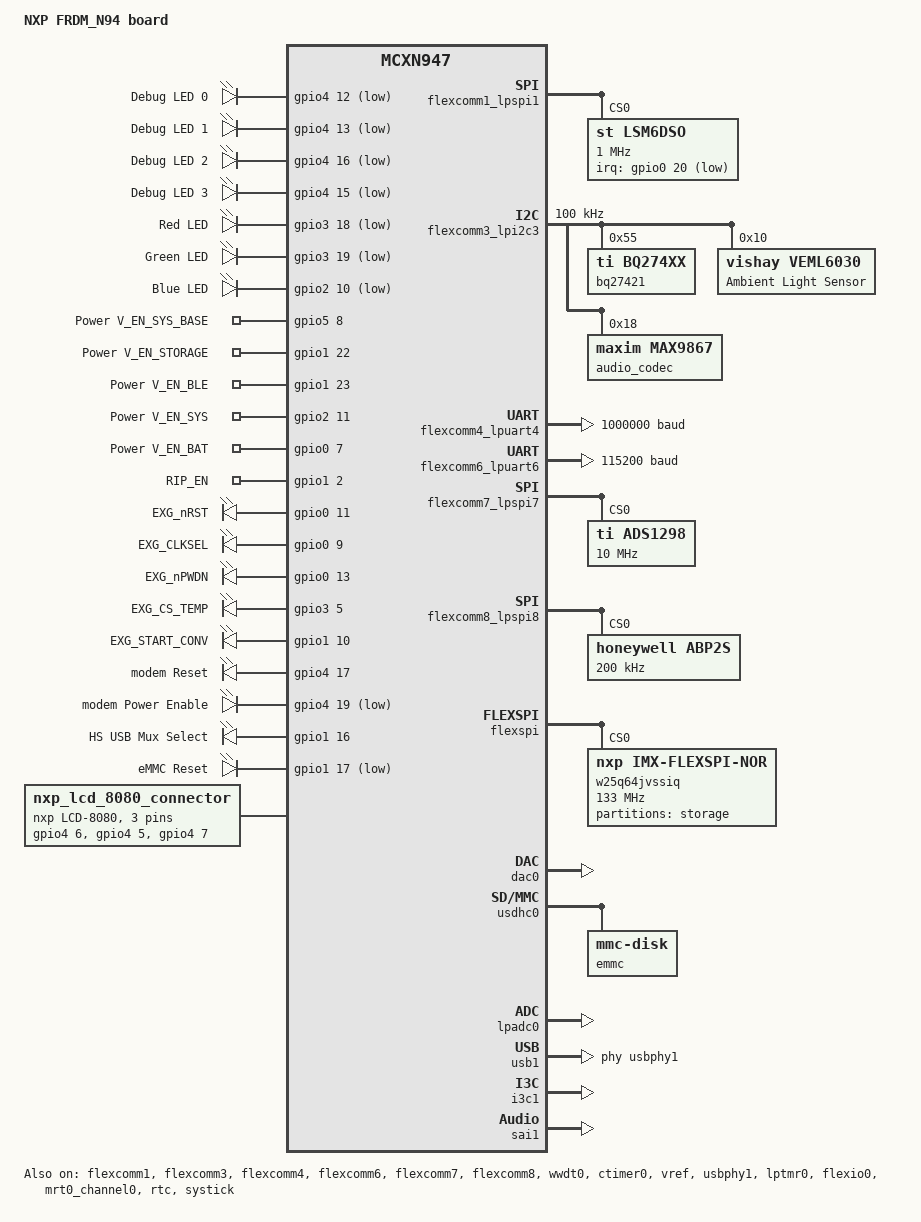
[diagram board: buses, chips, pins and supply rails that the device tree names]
/dts-v1/;

#include <nxp/nxp_mcxn94x.dtsi>
#include "db1-pinctrl.dtsi"
#include <zephyr/dt-bindings/i2c/i2c.h>
#include <zephyr/dt-bindings/input/input-event-codes.h>

/ {
	model = "NXP FRDM_N94 board";
	compatible = "nxp,mcxn947", "nxp,mcx";
	cpus {
		/delete-node/ cpu@1;
	};

	chosen {
		zephyr,sram = &sram0;
		zephyr,flash = &flash;
		zephyr,flash-controller = &fmu;
		zephyr,code-partition = &slot0_partition;
		zephyr,uart-mcumgr = &flexcomm4_lpuart4;
		zephyr,console = &flexcomm4_lpuart4;
		zephyr,shell-uart = &flexcomm4_lpuart4;
		zephyr,canbus = &flexcan0;
		zephyr,code-cpu1-partition = &slot1_partition;
	};

	aliases{
		led0 = &debug_led_0;
		led1 = &debug_led_1;
		led2 = &debug_led_2;
		led3 = &debug_led_3;

		user-red = &red_led;
		user-green = &green_led;
		user-blue = &blue_led;
		power-ven-sys-base = &power_ven_sys_base;
		power-ven-storage = &power_ven_storage;
		power-ven-ble = &power_ven_ble;
		power-ven-sys = &power_ven_sys;
		power-ven-bat = &power_ven_bat;

		rip-en = &rip_en;
		exg-nrst = &exg_nrst;
		exg-clksel = &exg_clksel;
		exg-npwdn = &exg_npwdn;
		//		exg-cs-temp = &exg_cs_temp;
		exg-cs-temp = &debug_led_3;
		exg-start-conv = &exg_start_conv;

		modem-uart = &flexcomm6_lpuart6;
		modem-reset = &modem_reset;
		modem-on = &modem_on;

		hs-usb-sel = &hs_usb_sel;
		emmc-reset = &emmc_reset;

		sw0 = &user_button_2;
		sw1 = &user_button_3;
		sdhc0 = &usdhc0;
		mcuboot-button0 = &user_button_2;

		watchdog0 = &wwdt0;
//		pwm-0 = &flexpwm1_pwm0;
//		pwm-1 = &sc_timer;
		rtc = &rtc;
	};
	leds {
		compatible = "gpio-leds";
		debug_led_0: dbg_0 {
			gpios = <&gpio4 12 GPIO_ACTIVE_LOW>;
			label = "Debug LED 0";
		};
		debug_led_1: dbg_1 {
			gpios = <&gpio4 13 GPIO_ACTIVE_LOW>;
			label = "Debug LED 1";
		};
		debug_led_2: dbg_2 {
			gpios = <&gpio4 16 GPIO_ACTIVE_LOW>;
			label = "Debug LED 2";
		};
		debug_led_3: dbg_3 {
			gpios = <&gpio4 15 GPIO_ACTIVE_LOW>;
			label = "Debug LED 3";
		};

		red_led: red {
			gpios = <&gpio3 18 GPIO_ACTIVE_LOW>;
			label = "Red LED";
		};
		green_led: green {
			gpios = <&gpio3 19 GPIO_ACTIVE_LOW>;
			label = "Green LED";
		};
		blue_led: blue {
			gpios = <&gpio2 10 GPIO_ACTIVE_LOW>;
			label = "Blue LED";
		};

		power_ven_sys_base: power_ven_sys_base {
			gpios = <&gpio5 8 GPIO_ACTIVE_HIGH>;
			label = "Power V_EN_SYS_BASE";
		};
		power_ven_storage: power_ven_storage {
			gpios = <&gpio1 22 GPIO_ACTIVE_HIGH>;
			label = "Power V_EN_STORAGE";
		};
		power_ven_ble: power_ven_ble {
			gpios = <&gpio1 23 GPIO_ACTIVE_HIGH>;
			label = "Power V_EN_BLE";
		};
		power_ven_sys: power_ven_sys {
			gpios = <&gpio2 11 GPIO_ACTIVE_HIGH>;
			label = "Power V_EN_SYS";
		};
		power_ven_bat: power_ven_bat {
			gpios = <&gpio0 7 GPIO_ACTIVE_HIGH>;
			label = "Power V_EN_BAT";
		};
		rip_en: rip_en {
			gpios = <&gpio1 2 GPIO_ACTIVE_HIGH>;
			label = "RIP_EN";
		};
		exg_nrst: exg_nrst {
			gpios = <&gpio0 11 GPIO_ACTIVE_HIGH>;
			label = "EXG_nRST";
		};
		exg_clksel: exg_clksel {
			gpios = <&gpio0 9 GPIO_ACTIVE_HIGH>;
			label = "EXG_CLKSEL";
		};
		exg_npwdn: exg_npwdn {
			gpios = <&gpio0 13 GPIO_ACTIVE_HIGH>;
			label = "EXG_nPWDN";
		};
		exg_cs_temp: exg_cs_temp { /* This shouold be passed to driver via device tree */
		gpios = <&gpio3 5 GPIO_ACTIVE_HIGH>;
			label = "EXG_CS_TEMP";
		};
		exg_start_conv: exg_start_conv {
			gpios = <&gpio1 10 GPIO_ACTIVE_HIGH>;
			label = "EXG_START_CONV";
		};
		modem_reset: modem_reset { /* Assert to reset */
		gpios = <&gpio4 17 GPIO_ACTIVE_HIGH>;
			label = "modem Reset";
		};
		modem_on: modem_on { /* Assert to power on */
		gpios = <&gpio4 19 GPIO_ACTIVE_LOW>;
			label = "modem Power Enable";
		};
		hs_usb_sel: hs_usb_sel {
			gpios = <&gpio1 16 GPIO_ACTIVE_HIGH>;
			label = "HS USB Mux Select";
		};
		emmc_reset: emmc_reset {
			gpios = <&gpio1 17 GPIO_ACTIVE_LOW>;
			label = "eMMC Reset";
		};
	};

	gpio_keys {
		compatible = "gpio-keys";
		user_button_2: button_0 {
			label = "User SW2";
			gpios = <&gpio0 23 (GPIO_ACTIVE_LOW | GPIO_PULL_UP)>;
			zephyr,code = <INPUT_KEY_0>;
			status = "disabled";
		};
		user_button_3: button_1 {
			label = "User SW3";
			gpios = <&gpio0 6 (GPIO_ACTIVE_LOW | GPIO_PULL_UP)>;
			zephyr,code = <INPUT_KEY_1>;
			status = "disabled";
		};
	};

	/*
	 * This node describes the GPIO pins of the LCD-PAR-S035 panel 8080 interface.
	 */
	nxp_lcd_8080_connector: lcd-8080-connector {
		compatible = "nxp,lcd-8080";
		#gpio-cells = <2>;
		gpio-map-mask = <0xffffffff 0xffffffc0>;
		gpio-map-pass-thru = <0 0x3f>;
		gpio-map =	<9  0 &gpio4 6 0>,	/* Pin 9, LCD touch INT */
					  <10  0 &gpio4 5 0>,	/* Pin 10, LCD backlight control */
					  <11  0 &gpio4 7 0>;	/* Pin 11, LCD and touch reset */
	};

};

/*
 * Default for this board is to allocate SRAM0-5 to cpu0 but the
 * application can have an application specific device tree to
 * allocate the SRAM0-7 differently.
 *
 * For example, SRAM0-6 could be allocated to cpu0 with only SRAM7
 * for cpu1. This would require the value of sram0 to have a DT_SIZE_K
 * of 384. You would have to make updates to cpu1 sram settings as well.
 */
&sram0 {
	compatible = "mmio-sram";
	reg = <0x20000000 DT_SIZE_K(320)>;
};

&sram {
	sramg: memory@20050000 {
		compatible = "mmio-sram";
		reg = <0x20050000 DT_SIZE_K(64)>;
	};
	sramh: memory@20060000 {
		compatible = "mmio-sram";
		reg = <0x20060000 DT_SIZE_K(32)>;
	};
};


&mbox {
	status = "okay";
};

&gpio0 {
	status = "okay";
};

&gpio1 {
	status = "okay";
};

&gpio2 {
	status = "okay";
};

&gpio3 {
	status = "okay";
};

&gpio4 {
	status = "okay";
};

&gpio5 {
	status = "okay";
};

//&green_led {
//	status = "okay";
//};
//
//&red_led {
//	status = "okay";
//};
//
&user_button_2 {
	//	status = "okay";
};

&edma0 {
	status = "okay";
};

&flexcomm1 {
	status = "okay";
};

&flexcomm1_lpspi1 {
	pinctrl-0 = <&pinmux_flexcomm1_lpspi>;
	pinctrl-names = "default";
	status = "okay";
	lsm6dso: lsm6dso@0 {
		compatible = "st,lsm6dso";
		status = "okay";
		reg = <0x0>;
		irq-gpios = <&gpio0 20 GPIO_ACTIVE_LOW>;
		spi-max-frequency = <1000000>; /* Can go higher */
		accel-pm = <0>; /* Normal mode */
		accel-range = <0>; /* 2g */
		accel-odr = <1>; /* 12.5Hz */
	};
};
&flexcomm2 {
	status = "disabled";
};

&flexcomm2_lpi2c2 {
	status = "disabled";
};

&flexcomm2_lpuart2 {
	status = "disabled";
};

&flexcomm3 {
	status = "okay";
};

&flexcomm3_lpi2c3 {
	status = "okay";
	pinctrl-0 = <&pinmux_flexcomm3_lpi2c>;
	pinctrl-names = "default";
	clock-frequency = <I2C_BITRATE_STANDARD>;

	bq27421@55 {
		compatible = "ti,bq274xx";
		reg = <0x55>;
		design-voltage = <3700>;
		design-capacity = <1800>;
		taper-current = <45>;
		terminate-voltage = <3000>;
	};
	veml6030@10 {
		compatible = "vishay,veml6030";
		reg = <0x10>;
		status = "okay";
		label = "Ambient Light Sensor";
		/*int-gpios = <&gpio1 15 (GPIO_PULL_UP | GPIO_ACTIVE_LOW)>;*/
	};
	audio_codec: max9867@18{
		compatible = "maxim,max9867";
		reg = <0x18>;
		/* Ideally mclk would come via clock control api but that is missing for this clock,
		on this MCU at the moment, so it will fall back to the default. */
		mclk-default = <12288000>;
		clocks = <&syscon MCUX_AUDIO_MCLK>; /* once MCX clock controll api is fixed */
		clock-names = "mclk";
	};
};



&flexcomm4 {
	status = "okay";
};

/* Debug Uart*/
&flexcomm4_lpuart4 {
	status = "okay";
	current-speed = <1000000>;
	pinctrl-0 = <&pinmux_flexcomm4_lpuart>;
	pinctrl-names = "default";
};


&flexcomm6 {
	status = "okay";
};

&flexcomm6_lpuart6 {
	status = "okay";
	current-speed = <115200>;
	hw-flow-control;
	pinctrl-0 = <&pinmux_flexcomm6_lpuart>;
	pinctrl-names = "default";
	/*
	modem: modem {
		   compatible = "u-blox,lara-r6";
		   mdm-power-gpios = <&gpio4 19 GPIO_ACTIVE_LOW>;
		   mdm-reset-gpios = <&gpio4 17 GPIO_ACTIVE_LOW>;
		   status = "okay";
		};
	*/
};
&flexcomm7 {
	status = "okay";
};

&flexcomm7_lpspi7 {
	pinctrl-0 = <&pinmux_flexcomm7_lpspi>;
	pinctrl-names = "default";
	status = "okay";
	/* CS must remain low for the entire duration of the serial communication. */
	/* After the serial communication is finished, always wait four or more tCLK periods before taking CS high.*/
	/* That is 4*514e-9 = 2.056us*/
	pcs-sck-delay = <2500>; //Delay in nanoseconds from the chip select assert to the first clock

	/* The chip select must be deasserted at least 4 tCLK periods after the last clock edge. */
	/* That is 4*514e-9 = 2.056us */
	sck-pcs-delay = <2500>; //Delay in nanoseconds from the last clock edge to the chip select

	/* Gap between last clock of each word must be more than tsdecode 9.5.2.9 */
	/* if CLK is 2.048 MHz, then tSDECODE (4 × tCLK) is 2.056 µs. */
	transfer-delay = <2500>; //Delay in nanoseconds between last SCK edge of a transfer word and the first SCK edge of the next transfer word.
	ads1298: ads1298@0 {
		compatible = "ti,ads1298";
		status = "okay";
		reg = <0x0>;
		spi-max-frequency = <10000000>; /* Can go higher */
		//	spi-min-frequency = <500000>; /* Can go higher */
	};

};


//&flexcomm7_lpi2c7 {
//	status = "okay";
//};

&flexcomm8 {
	status = "okay";
};

&flexcomm8_lpspi8 {
	pinctrl-0 = <&pinmux_flexcomm8_lpspi>;
	pinctrl-names = "default";
	status = "okay";
	pcs-sck-delay = <2800>; //Delay in nanoseconds from the chip select assert to the first clock (DS=2.5us)
	sck-pcs-delay = <150>; //Delay in nanoseconds from the last clock edge to the chip select (DS=100ns)
	//	transfer-delay = <2500>; //Delay in nanoseconds between last SCK edge of a transfer word and the first SCK edge of the next transfer word.

	abp2s: abp2s@0 {
		compatible = "honeywell,abp2s";
		status = "okay";
		reg = <0x0>;
		spi-max-frequency = <200000>; /* Can go higher */
		min-pressure-millipsi = <0>;
		max-pressure-millipsi = <1000>;
	};

};



&flexspi {
	status = "okay";
	pinctrl-0 = <&pinmux_flexspi>;
	pinctrl-names = "default";
	ahb-prefetch;
	ahb-bufferable;
	ahb-cacheable;
	ahb-read-addr-opt;
	combination-mode;
	rx-clock-source = <1>;

	/* WINBOND flash memory*/
	w25q64jvssiq: w25q64jvssiq@0 {
		compatible = "nxp,imx-flexspi-nor";
		status = "disabled";
		size = <67108864>;
		reg = <0>;
		spi-max-frequency = <133000000>;
		jedec-id = [ef 40 17];
		erase-block-size = <4096>;
		write-block-size = <1>;
		cs-interval-unit = <1>;
		cs-interval = <2>;
		cs-hold-time = <3>;
		cs-setup-time = <3>;
		data-valid-time = <2>;
		column-space = <0>;
	};
};

&w25q64jvssiq {
	status = "okay";
	partitions {
		compatible = "fixed-partitions";
		#address-cells = <1>;
		#size-cells = <1>;
		storage_partition: partition@0 {
			label = "storage";
			reg = <0x0 DT_SIZE_M(8)>;
		};
	};
};

&dac0 {
	status = "okay";
	pinctrl-0 = <&pinmux_dac0>;
	pinctrl-names = "default";
};
&enet {
	status = "disabled";
};

&enet_mac {
	status = "disabled";
};

&enet_mdio {
	status = "disabled";
};

&wwdt0 {
	status = "okay";
};

&flexpwm1_pwm0 {
	status = "disabled";
//	pinctrl-0 = <&pinmux_flexpwm1_pwm0>;
//	pinctrl-names = "default";
};
&flexpwm1_pwm1 {
	status = "disabled";
};
&flexpwm1_pwm2 {
	status = "disabled";
};

&flexcan0 {
	status = "disabled";
//	pinctrl-0 = <&pinmux_flexcan0>;
//	pinctrl-names = "default";
};

&ctimer0 {
	status = "okay";
};

&usdhc0 {
	status = "okay";
	pinctrl-0 = <&pinmux_usdhc0>;
	pinctrl-1 = <&pinmux_usdhc0>;
	pinctrl-2 = <&pinmux_usdhc0>;
	pinctrl-names = "default", "slow", "med";
	no-1-8-v;
	/delete-property/ cd-gpios; // Remove card detect to free PIO2_1 for D4
	pwr-gpios = <&gpio1 22 GPIO_ACTIVE_HIGH>; // eMMC power enable pin
	//	pwr-gpios = <&gpio1 17 GPIO_ACTIVE_LOW>; // eMMC reset pin
	power-delay-ms = <200>;
	/* eMMC - embedded storage */
	emmc {
		//				compatible = "zephyr,sdmmc-disk";
		compatible = "zephyr,mmc-disk";
		disk-name = "SD2";
		status = "okay";
	};
	/* Disable the original SD card disk */
	/delete-node/ sdmmc;
};

&vref {
	status = "okay";
};

&lpadc0 {
	status = "okay";
	pinctrl-0 = <&pinmux_lpadc0>;
	pinctrl-names = "default";
};


zephyr_udc0: &usb1 {
	status = "okay";
	phy-handle = <&usbphy1>;
};

&usbphy1 {
	status = "okay";
	tx-d-cal = <4>;
	tx-cal-45-dp-ohms = <7>;
	tx-cal-45-dm-ohms = <7>;
};

&lpcmp0 {
	status = "disabled";
};

&lptmr0 {
	status = "okay";
};

&i3c1 {
	status = "okay";
	pinctrl-0 = <&pinmux_i3c1>;
	pinctrl-names = "default";
};

&flexio0 {
	status = "okay";
};

&mrt0_channel0 {
	status = "okay";
};

&rtc {
	status = "okay";
};

&sc_timer {
	status = "disabled";
//	pinctrl-0 = <&pinmux_sctimer>;
//	pinctrl-names = "default";
};


&sai1 {
	status = "okay";
	pinctrl-0 = <&pinmux_sai1>;
	pinctrl-names = "default";
	/* PLL1 is clock source and this is setup in board.c */
	pre-div = <1>;
	podf = <19>;
	clock-mux = <0>;

	/* SAI Configuration for Simultaneous TX/RX Operation */
	/* Configure RX as async (Master to TX and generate bclk and sync) */
	//	nxp,rx-sync-mode; /* property present = kSAI_ModeSync */

	/* Configure TX as synchronous (Slave to RX bclk and sync) */
	nxp,tx-sync-mode; 	/* TX to follow RX (use bclk and sync)*/
};


&sai0 {
	status = "disabled";
};


//zephyr_mipi_dbi_parallel: &flexio0_lcd {
//	/* DMA channels 0, muxed to FlexIO TX */
//	dmas = <&edma0 0 61>;
//	dma-names = "tx";
//	shifters-count = <8>;
//	timers-count = <1>;
//	enwr-pin = <1>;
//	rd-pin = <0>;
//	data-pin-start = <16>;
//	reset-gpios = <&gpio4 7 GPIO_ACTIVE_HIGH>;
//	cs-gpios = <&gpio0 12 GPIO_ACTIVE_HIGH>;
//	rs-gpios = <&gpio0 7 GPIO_ACTIVE_HIGH>;
//	pinctrl-0 = <&pinmux_flexio_lcd>;
//	pinctrl-names = "default";
//};


/* SmartDMA is used for video driver on this board */
&smartdma {
	status = "okay";
	program-mem = <0x4000000>;
	//	video_sdma: video-sdma {
	//		status = "okay";
	//		compatible = "nxp,video-smartdma";
	//		pinctrl-0 = <&pinmux_smartdma_camera>;
	//		pinctrl-names = "default";
	////		sensor = <&ov7670>;
	//		vsync-pin = <4>;
	//		hsync-pin = <11>;
	//		pclk-pin = <5>;
	//	};
};


/*
 * MCXN947 board uses OS timer as the kernel timer
 * In case we need to switch to SYSTICK timer, then
 * replace &os_timer with &systick
 */
&os_timer {
	status = "disabled";
};

&systick {
	status = "okay";
};

&flash {
	partitions {
		compatible = "fixed-partitions";
		#address-cells = <1>;
		#size-cells = <1>;

		/*
		 * Partition sizes must be aligned
		 * to the flash memory sector size of 8KB.
		 */
		boot_partition: partition@0 {
			label = "mcuboot";
			reg = <0x00000000 DT_SIZE_K(80)>;
		};
		/* For the MCUBoot "upgrade only" method,
		 * the slot sizes must be equal.
		 */
		slot0_partition: partition@14000 {
			label = "image-0";
			reg = <0x00014000 DT_SIZE_K(984)>;
		};
		slot1_partition: partition@10A000 {
			label = "image-1";
			reg = <0x0010A000 DT_SIZE_K(984)>;
		};
		/* storage_partition is placed in WINBOND flash memory*/
	};
};
